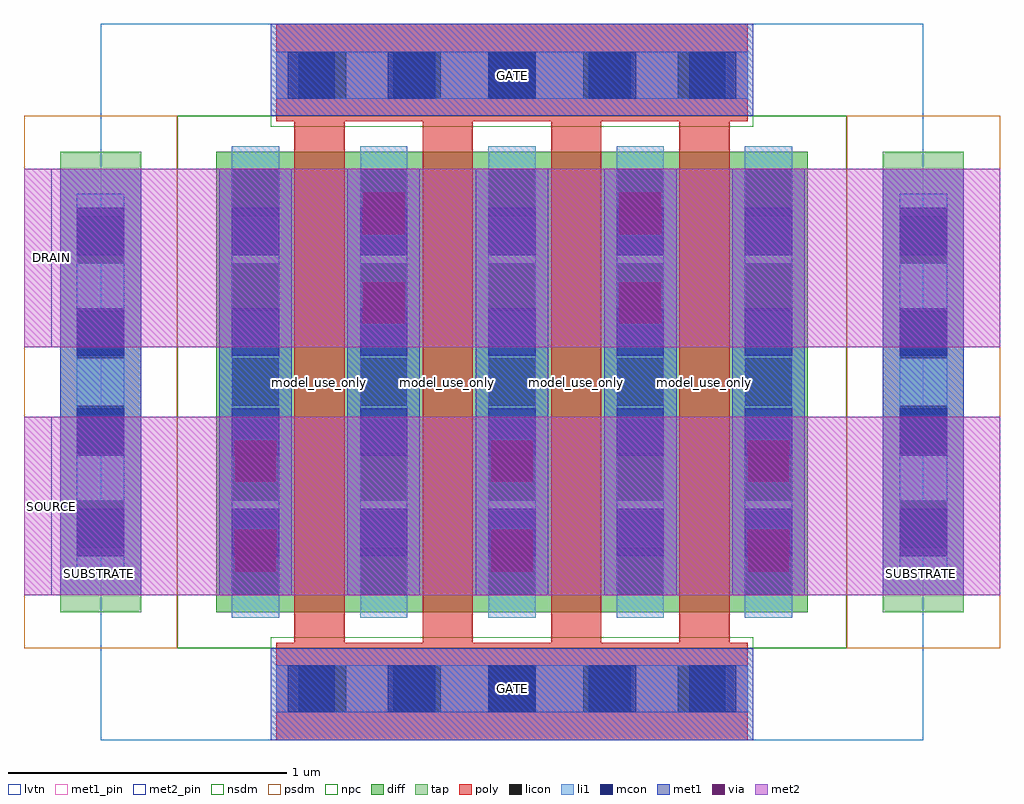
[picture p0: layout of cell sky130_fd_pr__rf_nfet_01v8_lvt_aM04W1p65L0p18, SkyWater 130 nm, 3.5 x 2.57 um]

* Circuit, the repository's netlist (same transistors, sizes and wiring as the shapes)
* Copyright 2020 The SkyWater PDK Authors
*
* Licensed under the Apache License, Version 2.0 (the "License");
* you may not use this file except in compliance with the License.
* You may obtain a copy of the License at
*
*     https://www.apache.org/licenses/LICENSE-2.0
*
* Unless required by applicable law or agreed to in writing, software
* distributed under the License is distributed on an "AS IS" BASIS,
* WITHOUT WARRANTIES OR CONDITIONS OF ANY KIND, either express or implied.
* See the License for the specific language governing permissions and
* limitations under the License.
*
* SPDX-License-Identifier: Apache-2.0


.subckt sky130_fd_pr__rf_nfet_01v8_lvt_aM04W1p65L0p18 DRAIN GATE SOURCE SUBSTRATE
X0 DRAIN GATE SOURCE SUBSTRATE sky130_fd_pr__nfet_01v8_lvt w=1.65e+06u l=180000u
X1 SOURCE GATE DRAIN SUBSTRATE sky130_fd_pr__nfet_01v8_lvt w=1.65e+06u l=180000u
X2 SOURCE GATE DRAIN SUBSTRATE sky130_fd_pr__nfet_01v8_lvt w=1.65e+06u l=180000u
X3 DRAIN GATE SOURCE SUBSTRATE sky130_fd_pr__nfet_01v8_lvt w=1.65e+06u l=180000u
.ends

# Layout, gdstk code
import gdstk
lib = gdstk.Library(unit=1e-6, precision=1e-09)
def R(c, l, rs):  # rectangles x0, y0, x1, y1
    for r in rs: c.add(gdstk.rectangle(r[:2], r[2:], *l))
def A(c, l, x, y, w, h, nx, ny, dx, dy):  # array of equal rectangles
    R(c, l, [(x+i*dx, y+j*dy, x+i*dx+w, y+j*dy+h) for i in range(nx) for j in range(ny)])
diff = (65, 20)
tap = (65, 44)
poly = (66, 20)
licon = (66, 44)
li1 = (67, 20)
mcon = (67, 44)
met1_pin = (68, 16)
met1 = (68, 20)
via = (68, 44)
met2_pin = (69, 16)
met2 = (69, 20)
nsdm = (93, 44)
psdm = (94, 20)
npc = (95, 20)
lvtn = (125, 44)

sky130_fd_pr__rf_nfet_01 = lib.new_cell('sky130_fd_pr__rf_nfet_01v8_lvt_aM04W1p65L0p18')
R(sky130_fd_pr__rf_nfet_01, diff, [(0.74,0.51,2.86,2.16)])
R(sky130_fd_pr__rf_nfet_01, tap, [(0.18,0.51,0.47,2.16), (3.13,0.51,3.42,2.16)])
A(sky130_fd_pr__rf_nfet_01, poly, 1.02, 0.4, 0.18, 1.87, 4, 1, 0.46, 0)
R(sky130_fd_pr__rf_nfet_01, poly, [(0.955,0.05,2.645,0.4), (0.955,2.27,2.645,2.62)])
A(sky130_fd_pr__rf_nfet_01, licon, 1.035, 0.15, 0.17, 0.17, 5, 2, 0.34, 2.2)
A(sky130_fd_pr__rf_nfet_01, licon, 0.795, 0.57, 0.17, 0.17, 3, 1, 0.46, 0)
A(sky130_fd_pr__rf_nfet_01, licon, 1.715, 0.57, 0.17, 0.17, 3, 1, 0.46, 0)
A(sky130_fd_pr__rf_nfet_01, licon, 0.24, 0.74, 0.17, 0.17, 1, 4, 0, 0.34)
A(sky130_fd_pr__rf_nfet_01, licon, 3.19, 0.74, 0.17, 0.17, 1, 4, 0, 0.34)
A(sky130_fd_pr__rf_nfet_01, licon, 0.795, 0.91, 0.17, 0.17, 5, 4, 0.46, 0.34)
R(sky130_fd_pr__rf_nfet_01, licon, [(0.795,0.57,0.965,0.74), (2.635,0.57,2.805,0.74)])
A(sky130_fd_pr__rf_nfet_01, li1, 0.795, 0.49, 0.17, 1.69, 5, 1, 0.46, 0)
R(sky130_fd_pr__rf_nfet_01, li1, [(0.955,0.15,2.645,0.32), (0.995,0.15,2.605,0.32), (0.24,0.66,0.41,2.01), (3.19,0.66,3.36,2.01), (0.955,2.35,2.645,2.52), (0.995,2.35,2.605,2.52)])
A(sky130_fd_pr__rf_nfet_01, mcon, 0.995, 0.15, 0.17, 0.17, 5, 2, 0.36, 2.2)
A(sky130_fd_pr__rf_nfet_01, mcon, 0.24, 0.71, 0.17, 0.17, 1, 4, 0, 0.36)
A(sky130_fd_pr__rf_nfet_01, mcon, 0.795, 0.71, 0.17, 0.17, 5, 4, 0.46, 0.36)
A(sky130_fd_pr__rf_nfet_01, mcon, 3.19, 0.71, 0.17, 0.17, 1, 4, 0, 0.36)
R(sky130_fd_pr__rf_nfet_01, met1_pin, [(0.935,0.05,2.665,0.38), (0.18,0.57,0.47,0.65), (3.13,0.57,3.42,0.65), (0.935,2.29,2.665,2.62)])
A(sky130_fd_pr__rf_nfet_01, met1, 0.75, 0.57, 0.26, 1.53, 5, 1, 0.46, 0)
R(sky130_fd_pr__rf_nfet_01, met1, [(0.935,0.05,2.665,0.38), (0.18,0.57,0.47,2.1), (3.13,0.57,3.42,2.1), (0.935,2.29,2.665,2.62)])
A(sky130_fd_pr__rf_nfet_01, via, 0.805, 0.655, 0.15, 0.15, 3, 2, 0.92, 0.32)
R(sky130_fd_pr__rf_nfet_01, via, [(1.265,1.545,1.415,1.695), (2.185,1.545,2.335,1.695), (1.265,1.865,1.415,2.015), (2.185,1.865,2.335,2.015)])
R(sky130_fd_pr__rf_nfet_01, met2_pin, [(0.05,0.57,0.15,1.21), (0.05,1.46,0.15,2.1)])
R(sky130_fd_pr__rf_nfet_01, met2, [(0.05,0.57,3.55,1.21), (0.05,1.46,3.55,2.1)])
R(sky130_fd_pr__rf_nfet_01, nsdm, [(0.6,0.38,3,2.29)])
R(sky130_fd_pr__rf_nfet_01, psdm, [(0.05,0.38,0.6,2.29), (3,0.38,3.55,2.29)])
R(sky130_fd_pr__rf_nfet_01, npc, [(0.935,0.05,2.665,0.42), (0.935,2.25,2.665,2.62)])
R(sky130_fd_pr__rf_nfet_01, lvtn, [(0.325,0.05,3.275,2.62)])
sky130_fd_pr__rf_nfet_01.add(gdstk.Label('model_use_only', (2.49,1.335), layer=66, texttype=83))
sky130_fd_pr__rf_nfet_01.add(gdstk.Label('model_use_only', (2.03,1.335), layer=66, texttype=83))
sky130_fd_pr__rf_nfet_01.add(gdstk.Label('model_use_only', (1.57,1.335), layer=66, texttype=83))
sky130_fd_pr__rf_nfet_01.add(gdstk.Label('model_use_only', (1.11,1.335), layer=66, texttype=83))
sky130_fd_pr__rf_nfet_01.add(gdstk.Label('DRAIN', (0.15,1.78), layer=69, texttype=5))
sky130_fd_pr__rf_nfet_01.add(gdstk.Label('SOURCE', (0.15,0.89), layer=69, texttype=5))
sky130_fd_pr__rf_nfet_01.add(gdstk.Label('SUBSTRATE', (0.32,0.65), layer=68, texttype=5))
sky130_fd_pr__rf_nfet_01.add(gdstk.Label('SUBSTRATE', (3.27,0.65), layer=68, texttype=5))
sky130_fd_pr__rf_nfet_01.add(gdstk.Label('GATE', (1.8,0.235), layer=68, texttype=5))
sky130_fd_pr__rf_nfet_01.add(gdstk.Label('GATE', (1.8,2.435), layer=68, texttype=5))

lib.write_gds('sky130_fd_pr__rf_nfet_01v8_lvt_aM04W1p65L0p18.gds')
